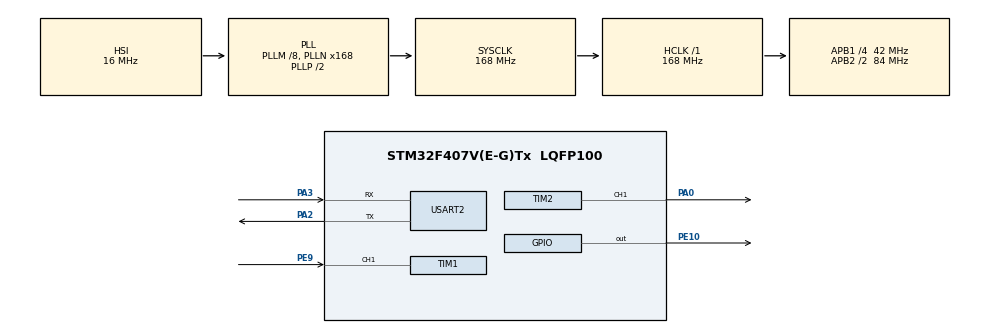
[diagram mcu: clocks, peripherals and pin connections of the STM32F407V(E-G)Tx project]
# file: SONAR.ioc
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FREERTOS.Tasks01=defaultTask,0,128,StartDefaultTask,Default,NULL,Dynamic,NULL,NULL;HCSR_kontrol,0,128,StartTaskHCSR_kontrol,Default,NULL,Dynamic,NULL,NULL;servo_kontrol,0,128,Startservo_kontol,Default,NULL,Dynamic,NULL,NULL
FREERTOS.configUSE_NEWLIB_REENTRANT=1
Mcu.Family=STM32F4
Mcu.Name=STM32F407V(E-G)Tx
Mcu.Package=LQFP100
NVIC.PriorityGroup=NVIC_PRIORITYGROUP_4
NVIC.TIM1_CC_IRQn=true\:5\:0\:false\:false\:true\:true\:true\:true\:true
NVIC.TIM3_IRQn=true\:15\:0\:false\:false\:true\:false\:false\:true\:true
NVIC.TimeBase=TIM3_IRQn
NVIC.TimeBaseIP=TIM3
PA0-WKUP.Signal=S_TIM2_CH1_ETR
PA13.Mode=Serial_Wire
PA13.Signal=SYS_JTMS-SWDIO
PA14.Mode=Serial_Wire
PA14.Signal=SYS_JTCK-SWCLK
PA2.Mode=Asynchronous
PA2.Signal=USART2_TX
PA3.Mode=Asynchronous
PA3.Signal=USART2_RX
PE10.Signal=GPIO_Output
PE9.Signal=S_TIM1_CH1
PH0-OSC_IN.Mode=HSE-External-Oscillator
PH0-OSC_IN.Signal=RCC_OSC_IN
PH1-OSC_OUT.Mode=HSE-External-Oscillator
PH1-OSC_OUT.Signal=RCC_OSC_OUT
ProjectManager.HeapSize=0x200
ProjectManager.StackSize=0x400
ProjectManager.TargetToolchain=STM32CubeIDE
RCC.48MHZClocksFreq_Value=84000000
RCC.AHBFreq_Value=168000000
RCC.APB1CLKDivider=RCC_HCLK_DIV4
RCC.APB1Freq_Value=42000000
RCC.APB1TimFreq_Value=84000000
RCC.APB2CLKDivider=RCC_HCLK_DIV2
RCC.APB2Freq_Value=84000000
RCC.APB2TimFreq_Value=168000000
RCC.CortexFreq_Value=168000000
RCC.HCLKFreq_Value=168000000
RCC.HSE_VALUE=8000000
RCC.HSI_VALUE=16000000
RCC.LSE_VALUE=32768
RCC.PLLM=8
RCC.PLLN=168
RCC.SYSCLKFreq_VALUE=168000000
RCC.SYSCLKSource=RCC_SYSCLKSOURCE_PLLCLK
RCC.VCOOutputFreq_Value=336000000
SH.S_TIM1_CH1.0=TIM1_CH1,Input_Capture1_from_TI1
SH.S_TIM2_CH1_ETR.0=TIM2_CH1,PWM Generation1 CH1
TIM1.Channel-Input_Capture1_from_TI1=TIM_CHANNEL_1
TIM1.Period=0xffff-1
TIM1.Prescaler=168-1
TIM2.Channel-PWM\ Generation1\ CH1=TIM_CHANNEL_1
TIM2.Period=20000-1
TIM2.Prescaler=84-1
USART2.VirtualMode=VM_ASYNC
VP_FREERTOS_VS_CMSIS_V1.Mode=CMSIS_V1
VP_SYS_VS_tim3.Mode=TIM3
board=custom

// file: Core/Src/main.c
/* USER CODE BEGIN Header */
/**
  ******************************************************************************
  * @file           : main.c
  * @brief          : Main program body
  ******************************************************************************
  * @attention
  *
  * Copyright (c) 2024 STMicroelectronics.
  * All rights reserved.
  *
  * This software is licensed under terms that can be found in the LICENSE file
  * in the root directory of this software component.
  * If no LICENSE file comes with this software, it is provided AS-IS.
  *
  ******************************************************************************
  */
/* USER CODE END Header */
#include "main.h"
#include "cmsis_os.h"
#include "tim.h"
#include "usart.h"
#include "gpio.h"

void SystemClock_Config(void);
void MX_FREERTOS_Init(void);

/* USER CODE BEGIN 0 */
void delay (uint16_t time)
{
	__HAL_TIM_SET_COUNTER(&htim1, 0);
	while (__HAL_TIM_GET_COUNTER (&htim1) < time);
}

uint32_t IC_Val1 = 0;
uint32_t IC_Val2 = 0;
uint32_t Difference = 0;
uint8_t Is_First_Captured = 0;  // is the first value captured ?
uint8_t Distance  = 0;

#define TRIG_PIN GPIO_PIN_10
#define TRIG_PORT GPIOE

// Let's write the callback function

void HAL_TIM_IC_CaptureCallback(TIM_HandleTypeDef *htim)
{
	if (htim->Channel == HAL_TIM_ACTIVE_CHANNEL_1)  // if the interrupt source is channel1
	{
		if (Is_First_Captured==0) // if the first value is not captured
		{
			IC_Val1 = HAL_TIM_ReadCapturedValue(htim, TIM_CHANNEL_1); // read the first value
			Is_First_Captured = 1;  // set the first captured as true
			// Now change the polarity to falling edge
			__HAL_TIM_SET_CAPTUREPOLARITY(htim, TIM_CHANNEL_1, TIM_INPUTCHANNELPOLARITY_FALLING);
		}

		else if (Is_First_Captured==1)   // if the first is already captured
		{
			IC_Val2 = HAL_TIM_ReadCapturedValue(htim, TIM_CHANNEL_1);  // read second value
			__HAL_TIM_SET_COUNTER(htim, 0);  // reset the counter

			if (IC_Val2 > IC_Val1)
			{
				Difference = IC_Val2-IC_Val1;
			}

			else if (IC_Val1 > IC_Val2)
			{
				Difference = (0xffff - IC_Val1) + IC_Val2;
			}

			Distance = Difference * .034/2;
			Is_First_Captured = 0; // set it back to false

			// set polarity to rising edge
			__HAL_TIM_SET_CAPTUREPOLARITY(htim, TIM_CHANNEL_1, TIM_INPUTCHANNELPOLARITY_RISING);
			__HAL_TIM_DISABLE_IT(&htim1, TIM_IT_CC1);
		}
	}
}

void HCSR04_Read (void)
{
	HAL_GPIO_WritePin(TRIG_PORT, TRIG_PIN, GPIO_PIN_SET);  // pull the TRIG pin HIGH
	delay(10);  // wait for 10 us
	HAL_GPIO_WritePin(TRIG_PORT, TRIG_PIN, GPIO_PIN_RESET);  // pull the TRIG pin low

	__HAL_TIM_ENABLE_IT(&htim1, TIM_IT_CC1);
}
void setServoAngle(uint32_t angle) {
    if (angle > 250) angle = 250;
    uint32_t minPulseWidth = 1000; // 1ms pulse width at a 1MHz clock
    uint32_t maxPulseWidth = 2000; // 2ms pulse width
    uint32_t pulse = ((angle * (maxPulseWidth - minPulseWidth)) / 180) + minPulseWidth;
    __HAL_TIM_SET_COMPARE(&htim2, TIM_CHANNEL_1, pulse); // Changed to TIM2, Channel 1
}
/* USER CODE END 0 */

int main(void)
{

  /* MCU Configuration--------------------------------------------------------*/

  /* Reset of all peripherals, Initializes the Flash interface and the Systick. */
  HAL_Init();

  /* Configure the system clock */
  SystemClock_Config();

  /* Initialize all configured peripherals */
  MX_GPIO_Init();
  MX_TIM1_Init();
  MX_TIM2_Init();
  MX_USART2_UART_Init();
  /* USER CODE BEGIN 2 */
  HAL_TIM_IC_Start_IT(&htim1, TIM_CHANNEL_1);
  HAL_TIM_PWM_Start(&htim2, TIM_CHANNEL_1);
  /* USER CODE END 2 */

  /* Call init function for freertos objects (in cmsis_os2.c) */
  MX_FREERTOS_Init();

  /* Start scheduler */
  osKernelStart();

  /* We should never get here as control is now taken by the scheduler */

  /* Infinite loop */
  while (1)
  {

  }
}

void SystemClock_Config(void)
{
  RCC_OscInitTypeDef RCC_OscInitStruct = {0};
  RCC_ClkInitTypeDef RCC_ClkInitStruct = {0};

  /** Configure the main internal regulator output voltage
  */
  __HAL_RCC_PWR_CLK_ENABLE();
  __HAL_PWR_VOLTAGESCALING_CONFIG(PWR_REGULATOR_VOLTAGE_SCALE1);

  /** Initializes the RCC Oscillators according to the specified parameters
  * in the RCC_OscInitTypeDef structure.
  */
  RCC_OscInitStruct.OscillatorType = RCC_OSCILLATORTYPE_HSI;
  RCC_OscInitStruct.HSIState = RCC_HSI_ON;
  RCC_OscInitStruct.HSICalibrationValue = RCC_HSICALIBRATION_DEFAULT;
  RCC_OscInitStruct.PLL.PLLState = RCC_PLL_ON;
  RCC_OscInitStruct.PLL.PLLSource = RCC_PLLSOURCE_HSI;
  RCC_OscInitStruct.PLL.PLLM = 8;
  RCC_OscInitStruct.PLL.PLLN = 168;
  RCC_OscInitStruct.PLL.PLLP = RCC_PLLP_DIV2;
  RCC_OscInitStruct.PLL.PLLQ = 4;
  if (HAL_RCC_OscConfig(&RCC_OscInitStruct) != HAL_OK)
  {
    Error_Handler();
  }

  /** Initializes the CPU, AHB and APB buses clocks
  */
  RCC_ClkInitStruct.ClockType = RCC_CLOCKTYPE_HCLK|RCC_CLOCKTYPE_SYSCLK
                              |RCC_CLOCKTYPE_PCLK1|RCC_CLOCKTYPE_PCLK2;
  RCC_ClkInitStruct.SYSCLKSource = RCC_SYSCLKSOURCE_PLLCLK;
  RCC_ClkInitStruct.AHBCLKDivider = RCC_SYSCLK_DIV1;
  RCC_ClkInitStruct.APB1CLKDivider = RCC_HCLK_DIV4;
  RCC_ClkInitStruct.APB2CLKDivider = RCC_HCLK_DIV2;

  if (HAL_RCC_ClockConfig(&RCC_ClkInitStruct, FLASH_LATENCY_5) != HAL_OK)
  {
    Error_Handler();
  }
}

void HAL_TIM_PeriodElapsedCallback(TIM_HandleTypeDef *htim)
{
  if (htim->Instance == TIM3) {
    HAL_IncTick();
  }
}

void Error_Handler(void)
{
  __disable_irq();
  while (1)
  {
  }
}

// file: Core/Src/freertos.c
/* USER CODE BEGIN Header */
/**
  ******************************************************************************
  * File Name          : freertos.c
  * Description        : Code for freertos applications
  ******************************************************************************
  * @attention
  *
  * Copyright (c) 2024 STMicroelectronics.
  * All rights reserved.
  *
  * This software is licensed under terms that can be found in the LICENSE file
  * in the root directory of this software component.
  * If no LICENSE file comes with this software, it is provided AS-IS.
  *
  ******************************************************************************
  */
/* USER CODE END Header */

#include "FreeRTOS.h"
#include "task.h"
#include "main.h"
#include "cmsis_os.h"

osThreadId defaultTaskHandle;
osThreadId HCSR_kontrolHandle;
osThreadId servo_kontrolHandle;

void StartDefaultTask(void const * argument);
void StartTaskHCSR_kontrol(void const * argument);
void Startservo_kontol(void const * argument);

void MX_FREERTOS_Init(void); /* (MISRA C 2004 rule 8.1) */

/* GetIdleTaskMemory prototype (linked to static allocation support) */
void vApplicationGetIdleTaskMemory( StaticTask_t **ppxIdleTaskTCBBuffer, StackType_t **ppxIdleTaskStackBuffer, uint32_t *pulIdleTaskStackSize );

/* USER CODE BEGIN GET_IDLE_TASK_MEMORY */
static StaticTask_t xIdleTaskTCBBuffer;
static StackType_t xIdleStack[configMINIMAL_STACK_SIZE];

void vApplicationGetIdleTaskMemory( StaticTask_t **ppxIdleTaskTCBBuffer, StackType_t **ppxIdleTaskStackBuffer, uint32_t *pulIdleTaskStackSize )
{
  *ppxIdleTaskTCBBuffer = &xIdleTaskTCBBuffer;
  *ppxIdleTaskStackBuffer = &xIdleStack[0];
  *pulIdleTaskStackSize = configMINIMAL_STACK_SIZE;
  /* place for user code */
}
/* USER CODE END GET_IDLE_TASK_MEMORY */

void MX_FREERTOS_Init(void) {

  /* Create the thread(s) */
  /* definition and creation of defaultTask */
  osThreadDef(defaultTask, StartDefaultTask, osPriorityNormal, 0, 128);
  defaultTaskHandle = osThreadCreate(osThread(defaultTask), NULL);

  /* definition and creation of HCSR_kontrol */
  osThreadDef(HCSR_kontrol, StartTaskHCSR_kontrol, osPriorityNormal, 0, 128);
  HCSR_kontrolHandle = osThreadCreate(osThread(HCSR_kontrol), NULL);

  /* definition and creation of servo_kontrol */
  osThreadDef(servo_kontrol, Startservo_kontol, osPriorityNormal, 0, 128);
  servo_kontrolHandle = osThreadCreate(osThread(servo_kontrol), NULL);

}

void StartDefaultTask(void const * argument)
{
  for(;;)
  {
    osDelay(1);
  }
}

void StartTaskHCSR_kontrol(void const * argument)
{
  for(;;)
  {
    osDelay(1);
  }
}

void Startservo_kontol(void const * argument)
{
  for(;;)
  {
    osDelay(1);
  }
}
